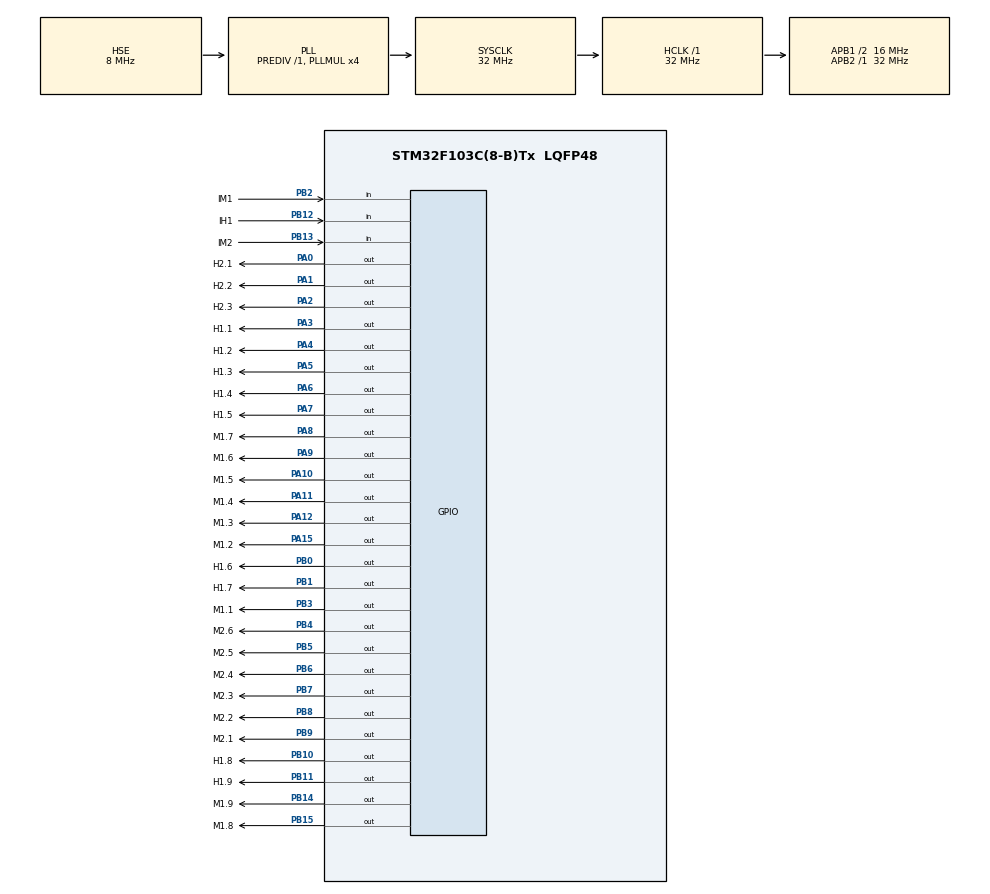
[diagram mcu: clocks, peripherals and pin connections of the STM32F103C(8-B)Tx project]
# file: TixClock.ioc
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Mcu.Family=STM32F1
Mcu.Name=STM32F103C(8-B)Tx
Mcu.Package=LQFP48
NVIC.PriorityGroup=NVIC_PRIORITYGROUP_4
PA0-WKUP.GPIO_Label=H2.1
PA0-WKUP.GPIO_PuPd=GPIO_PULLUP
PA0-WKUP.Signal=GPIO_Output
PA1.GPIO_Label=H2.2
PA1.GPIO_PuPd=GPIO_PULLUP
PA1.Signal=GPIO_Output
PA10.GPIO_Label=M1.5
PA10.GPIO_PuPd=GPIO_PULLUP
PA10.Signal=GPIO_Output
PA11.GPIO_Label=M1.4
PA11.GPIO_PuPd=GPIO_PULLUP
PA11.Signal=GPIO_Output
PA12.GPIO_Label=M1.3
PA12.GPIO_PuPd=GPIO_PULLUP
PA12.Signal=GPIO_Output
PA13.Mode=Serial_Wire
PA13.Signal=SYS_JTMS-SWDIO
PA14.Mode=Serial_Wire
PA14.Signal=SYS_JTCK-SWCLK
PA15.GPIO_Label=M1.2
PA15.GPIO_PuPd=GPIO_PULLUP
PA15.Signal=GPIO_Output
PA2.GPIO_Label=H2.3
PA2.GPIO_PuPd=GPIO_PULLUP
PA2.Signal=GPIO_Output
PA3.GPIO_Label=H1.1
PA3.GPIO_PuPd=GPIO_PULLUP
PA3.Signal=GPIO_Output
PA4.GPIO_Label=H1.2
PA4.GPIO_PuPd=GPIO_PULLUP
PA4.Signal=GPIO_Output
PA5.GPIO_Label=H1.3
PA5.GPIO_PuPd=GPIO_PULLUP
PA5.Signal=GPIO_Output
PA6.GPIO_Label=H1.4
PA6.GPIO_PuPd=GPIO_PULLUP
PA6.Signal=GPIO_Output
PA7.GPIO_Label=H1.5
PA7.GPIO_PuPd=GPIO_PULLUP
PA7.Signal=GPIO_Output
PA8.GPIO_Label=M1.7
PA8.GPIO_PuPd=GPIO_PULLUP
PA8.Signal=GPIO_Output
PA9.GPIO_Label=M1.6
PA9.GPIO_PuPd=GPIO_PULLUP
PA9.Signal=GPIO_Output
PB0.GPIO_Label=H1.6
PB0.GPIO_PuPd=GPIO_PULLUP
PB0.Signal=GPIO_Output
PB1.GPIO_Label=H1.7
PB1.GPIO_PuPd=GPIO_PULLUP
PB1.Signal=GPIO_Output
PB10.GPIO_Label=H1.8
PB10.GPIO_PuPd=GPIO_PULLUP
PB10.Signal=GPIO_Output
PB11.GPIO_Label=H1.9
PB11.GPIO_PuPd=GPIO_PULLUP
PB11.Signal=GPIO_Output
PB12.GPIO_Label=IH1
PB12.GPIO_Mode=GPIO_MODE_INPUT
PB12.GPIO_PuPd=GPIO_PULLUP
PB12.Signal=GPIO_Input
PB13.GPIO_Label=IM2
PB13.GPIO_Mode=GPIO_MODE_INPUT
PB13.GPIO_PuPd=GPIO_PULLUP
PB13.Signal=GPIO_Input
PB14.GPIO_Label=M1.9
PB14.GPIO_PuPd=GPIO_PULLUP
PB14.Signal=GPIO_Output
PB15.GPIO_Label=M1.8
PB15.GPIO_PuPd=GPIO_PULLUP
PB15.Signal=GPIO_Output
PB2.GPIO_Label=IM1
PB2.GPIO_PuPd=GPIO_PULLUP
PB2.Signal=GPIO_Input
PB3.GPIO_Label=M1.1
PB3.GPIO_PuPd=GPIO_PULLUP
PB3.Signal=GPIO_Output
PB4.GPIO_Label=M2.6
PB4.GPIO_PuPd=GPIO_PULLUP
PB4.Signal=GPIO_Output
PB5.GPIO_Label=M2.5
PB5.GPIO_PuPd=GPIO_PULLUP
PB5.Signal=GPIO_Output
PB6.GPIO_Label=M2.4
PB6.GPIO_PuPd=GPIO_PULLUP
PB6.Signal=GPIO_Output
PB7.GPIO_Label=M2.3
PB7.GPIO_PuPd=GPIO_PULLUP
PB7.Signal=GPIO_Output
PB8.GPIO_Label=M2.2
PB8.GPIO_PuPd=GPIO_PULLUP
PB8.Signal=GPIO_Output
PB9.GPIO_Label=M2.1
PB9.GPIO_PuPd=GPIO_PULLUP
PB9.Signal=GPIO_Output
PC14-OSC32_IN.Mode=LSE-External-Oscillator
PC14-OSC32_IN.Signal=RCC_OSC32_IN
PC15-OSC32_OUT.Mode=LSE-External-Oscillator
PC15-OSC32_OUT.Signal=RCC_OSC32_OUT
PD0-OSC_IN.Mode=HSE-External-Oscillator
PD0-OSC_IN.Signal=RCC_OSC_IN
PD1-OSC_OUT.Mode=HSE-External-Oscillator
PD1-OSC_OUT.Signal=RCC_OSC_OUT
ProjectManager.HeapSize=0x200
ProjectManager.StackSize=0x400
ProjectManager.TargetToolchain=EWARM V7
RCC.AHBFreq_Value=32000000
RCC.APB1CLKDivider=RCC_HCLK_DIV2
RCC.APB1Freq_Value=16000000
RCC.APB1TimFreq_Value=32000000
RCC.APB2Freq_Value=32000000
RCC.APB2TimFreq_Value=32000000
RCC.HCLKFreq_Value=32000000
RCC.PLLMUL=RCC_PLL_MUL4
RCC.PLLSourceVirtual=RCC_PLLSOURCE_HSE
RCC.RTCClockSelection=RCC_RTCCLKSOURCE_LSE
RCC.SYSCLKFreq_VALUE=32000000
RCC.SYSCLKSource=RCC_SYSCLKSOURCE_PLLCLK
RCC.USBFreq_Value=32000000
RTC.AutoPrediv=RTC_AUTO_1_SECOND
RTC.Format=RTC_FORMAT_BIN
RTC.OutPut=RTC_OUTPUTSOURCE_SECOND
VP_RTC_VS_RTC_Activate.Mode=RTC_Enabled
board=custom

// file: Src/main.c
/**
  ******************************************************************************
  * @file           : main.c
  * @brief          : Main program body
  ******************************************************************************
  ** This notice applies to any and all portions of this file
  * that are not between comment pairs USER CODE BEGIN and
  * USER CODE END. Other portions of this file, whether
  * inserted by the user or by software development tools
  * are owned by their respective copyright owners.
  *
  * COPYRIGHT(c) 2020 STMicroelectronics
  *
  * Redistribution and use in source and binary forms, with or without modification,
  * are permitted provided that the following conditions are met:
  *   1. Redistributions of source code must retain the above copyright notice,
  *      this list of conditions and the following disclaimer.
  *   2. Redistributions in binary form must reproduce the above copyright notice,
  *      this list of conditions and the following disclaimer in the documentation
  *      and/or other materials provided with the distribution.
  *   3. Neither the name of STMicroelectronics nor the names of its contributors
  *      may be used to endorse or promote products derived from this software
  *      without specific prior written permission.
  *
  * THIS SOFTWARE IS PROVIDED BY THE COPYRIGHT HOLDERS AND CONTRIBUTORS "AS IS"
  * AND ANY EXPRESS OR IMPLIED WARRANTIES, INCLUDING, BUT NOT LIMITED TO, THE
  * IMPLIED WARRANTIES OF MERCHANTABILITY AND FITNESS FOR A PARTICULAR PURPOSE ARE
  * DISCLAIMED. IN NO EVENT SHALL THE COPYRIGHT HOLDER OR CONTRIBUTORS BE LIABLE
  * FOR ANY DIRECT, INDIRECT, INCIDENTAL, SPECIAL, EXEMPLARY, OR CONSEQUENTIAL
  * DAMAGES (INCLUDING, BUT NOT LIMITED TO, PROCUREMENT OF SUBSTITUTE GOODS OR
  * SERVICES; LOSS OF USE, DATA, OR PROFITS; OR BUSINESS INTERRUPTION) HOWEVER
  * CAUSED AND ON ANY THEORY OF LIABILITY, WHETHER IN CONTRACT, STRICT LIABILITY,
  * OR TORT (INCLUDING NEGLIGENCE OR OTHERWISE) ARISING IN ANY WAY OUT OF THE USE
  * OF THIS SOFTWARE, EVEN IF ADVISED OF THE POSSIBILITY OF SUCH DAMAGE.
  *
  ******************************************************************************
  */
#include "main.h"
#include "stm32f1xx_hal.h"

/* USER CODE BEGIN Includes */
#include "cstdlib"
#include <stdbool.h>
/*
M1 x9: M1.1 M1.2 M1.3 ...
M2 x6: M2.1 M2.2 ...
H1 x9: H1.1 H2.2 ...
H2 x3: H2.1 H2.2 H2.3
*/
/* USER CODE END Includes */

RTC_HandleTypeDef hrtc;

/* USER CODE BEGIN PV */
/* Private variables ---------------------------------------------------------*/
RTC_TimeTypeDef currTime = {0};
RTC_DateTypeDef currDate = {0};

uint8_t M1 = 0, M2 = 0, H1 = 0, H2 = 0;
int lastSecond = 0;
bool temp[9], displayTime = 1, setPM = 1;
uint32_t errorSecond = 0;
uint8_t  IWDG_Reset = 1;

RTC_TimeTypeDef setTime = {17,31,30};//{0,0,0}; // Hour, Minute, Second
RTC_DateTypeDef setDate = {6,01,25,20}; // WeekDay, Month, Day, Year
/* USER CODE END PV */

void SystemClock_Config(void);
static void MX_GPIO_Init(void);
static void MX_RTC_Init(void);

/* USER CODE BEGIN PFP */
/* Private function prototypes -----------------------------------------------*/

/* USER CODE END PFP */

/* USER CODE BEGIN 0 */
void    DisplayTime(void);
void    DisplaySetTime(void);
int     GeneratePosition(int value, int N_position);
void    ShowPoints(char matrix_location, int position);
int     CountingOne(int data, int N_Position);
void    interruptDisplayTime(void);
void    DisplayAll(void);
void    getTime(void);

/* USER CODE END 0 */

int main(void)
{

  /* MCU Configuration----------------------------------------------------------*/

  /* Reset of all peripherals, Initializes the Flash interface and the Systick. */
  HAL_Init();

  /* Configure the system clock */
  SystemClock_Config();

  /* Initialize all configured peripherals */
  MX_GPIO_Init();
  MX_RTC_Init();
  /* USER CODE BEGIN 2 */

  HAL_RTC_SetTime(&hrtc, &setTime, RTC_FORMAT_BIN);
  //HAL_RTC_SetDate(&hrtc, &setDate, RTC_FORMAT_BIN);
    DisplayAll();
    HAL_Delay(1000);

  /* USER CODE END 2 */

  /* Infinite loop */
  while (1)
  {

  /* USER CODE BEGIN 3 */

    // **************************
    if ( ReadPin(IH1_GPIO_Port,IH1_Pin) == 0){
      while( ReadPin(IH1_GPIO_Port,IH1_Pin) == 0);
      getTime();
      if (setTime.Hours < 23)
        setTime.Hours++;
      else
        setTime.Hours = 0;

      setTime.Seconds           = 0;

      HAL_RTC_SetTime(&hrtc, &setTime, RTC_FORMAT_BIN);
      HAL_RTC_SetDate(&hrtc, &setDate, RTC_FORMAT_BIN);
      DisplaySetTime();

    }

    // **************************
    if ( ReadPin(IM1_GPIO_Port,IM1_Pin) == 0){
      while( ReadPin(IM1_GPIO_Port,IM1_Pin) == 0);
      getTime();
      if (setTime.Minutes%10 != 9)
        setTime.Minutes++;
      else
        setTime.Minutes = setTime.Minutes - 9;

      setTime.Seconds           = 0;

      HAL_RTC_SetTime(&hrtc, &setTime, RTC_FORMAT_BIN);
      HAL_RTC_SetDate(&hrtc, &setDate, RTC_FORMAT_BIN);
      DisplaySetTime();
    }

    // **************************
    if ( ReadPin(IM2_GPIO_Port,IM2_Pin) == 0){
      while( ReadPin(IM2_GPIO_Port,IM2_Pin) == 0);
      getTime();
      if (setTime.Minutes < 49)
        setTime.Minutes = setTime.Minutes + 10;
      else
        setTime.Minutes = setTime.Minutes - 50;

      setTime.Seconds           = 0;

      HAL_RTC_SetTime(&hrtc, &setTime, RTC_FORMAT_BIN);
      HAL_RTC_SetDate(&hrtc, &setDate, RTC_FORMAT_BIN);
      DisplaySetTime();
    }

  }
  /* USER CODE END 3 */

}

void SystemClock_Config(void)
{

  RCC_OscInitTypeDef RCC_OscInitStruct;
  RCC_ClkInitTypeDef RCC_ClkInitStruct;
  RCC_PeriphCLKInitTypeDef PeriphClkInit;

    /**Initializes the CPU, AHB and APB busses clocks
    */
  RCC_OscInitStruct.OscillatorType = RCC_OSCILLATORTYPE_HSE|RCC_OSCILLATORTYPE_LSE;
  RCC_OscInitStruct.HSEState = RCC_HSE_ON;
  RCC_OscInitStruct.HSEPredivValue = RCC_HSE_PREDIV_DIV1;
  RCC_OscInitStruct.LSEState = RCC_LSE_ON;
  RCC_OscInitStruct.HSIState = RCC_HSI_ON;
  RCC_OscInitStruct.PLL.PLLState = RCC_PLL_ON;
  RCC_OscInitStruct.PLL.PLLSource = RCC_PLLSOURCE_HSE;
  RCC_OscInitStruct.PLL.PLLMUL = RCC_PLL_MUL4;
  if (HAL_RCC_OscConfig(&RCC_OscInitStruct) != HAL_OK)
  {
    _Error_Handler(__FILE__, __LINE__);
  }

    /**Initializes the CPU, AHB and APB busses clocks
    */
  RCC_ClkInitStruct.ClockType = RCC_CLOCKTYPE_HCLK|RCC_CLOCKTYPE_SYSCLK
                              |RCC_CLOCKTYPE_PCLK1|RCC_CLOCKTYPE_PCLK2;
  RCC_ClkInitStruct.SYSCLKSource = RCC_SYSCLKSOURCE_PLLCLK;
  RCC_ClkInitStruct.AHBCLKDivider = RCC_SYSCLK_DIV1;
  RCC_ClkInitStruct.APB1CLKDivider = RCC_HCLK_DIV2;
  RCC_ClkInitStruct.APB2CLKDivider = RCC_HCLK_DIV1;

  if (HAL_RCC_ClockConfig(&RCC_ClkInitStruct, FLASH_LATENCY_1) != HAL_OK)
  {
    _Error_Handler(__FILE__, __LINE__);
  }

  PeriphClkInit.PeriphClockSelection = RCC_PERIPHCLK_RTC;
  PeriphClkInit.RTCClockSelection = RCC_RTCCLKSOURCE_LSE;
  if (HAL_RCCEx_PeriphCLKConfig(&PeriphClkInit) != HAL_OK)
  {
    _Error_Handler(__FILE__, __LINE__);
  }

    /**Configure the Systick interrupt time
    */
  HAL_SYSTICK_Config(HAL_RCC_GetHCLKFreq()/1000);

    /**Configure the Systick
    */
  HAL_SYSTICK_CLKSourceConfig(SYSTICK_CLKSOURCE_HCLK);

  /* SysTick_IRQn interrupt configuration */
  HAL_NVIC_SetPriority(SysTick_IRQn, 0, 0);
}

/* RTC init function */
static void MX_RTC_Init(void)
{

    /**Initialize RTC Only
    */
  hrtc.Instance = RTC;
  hrtc.Init.AsynchPrediv = RTC_AUTO_1_SECOND;
  hrtc.Init.OutPut = RTC_OUTPUTSOURCE_SECOND;
  if (HAL_RTC_Init(&hrtc) != HAL_OK)
  {
    _Error_Handler(__FILE__, __LINE__);
  }

}

/** Configure pins as
        * Analog
        * Input
        * Output
        * EVENT_OUT
        * EXTI
*/
static void MX_GPIO_Init(void)
{

  GPIO_InitTypeDef GPIO_InitStruct;

  /* GPIO Ports Clock Enable */
  __HAL_RCC_GPIOC_CLK_ENABLE();
  __HAL_RCC_GPIOD_CLK_ENABLE();
  __HAL_RCC_GPIOA_CLK_ENABLE();
  __HAL_RCC_GPIOB_CLK_ENABLE();

  /*Configure GPIO pin Output Level */
  HAL_GPIO_WritePin(GPIOA, H2_1_Pin|H2_2_Pin|H2_3_Pin|H1_1_Pin
                          |H1_2_Pin|H1_3_Pin|H1_4_Pin|H1_5_Pin
                          |M1_7_Pin|M1_6_Pin|M1_5_Pin|M1_4_Pin
                          |M1_3_Pin|M1_2_Pin, GPIO_PIN_RESET);

  /*Configure GPIO pin Output Level */
  HAL_GPIO_WritePin(GPIOB, H1_6_Pin|H1_7_Pin|H1_8_Pin|H1_9_Pin
                          |M1_9_Pin|M1_8_Pin|M1_1_Pin|M2_6_Pin
                          |M2_5_Pin|M2_4_Pin|M2_3_Pin|M2_2_Pin
                          |M2_1_Pin, GPIO_PIN_RESET);

  /*Configure GPIO pins : H2_1_Pin H2_2_Pin H2_3_Pin H1_1_Pin
                           H1_2_Pin H1_3_Pin H1_4_Pin H1_5_Pin
                           M1_7_Pin M1_6_Pin M1_5_Pin M1_4_Pin
                           M1_3_Pin M1_2_Pin */
  GPIO_InitStruct.Pin = H2_1_Pin|H2_2_Pin|H2_3_Pin|H1_1_Pin
                          |H1_2_Pin|H1_3_Pin|H1_4_Pin|H1_5_Pin
                          |M1_7_Pin|M1_6_Pin|M1_5_Pin|M1_4_Pin
                          |M1_3_Pin|M1_2_Pin;
  GPIO_InitStruct.Mode = GPIO_MODE_OUTPUT_PP;
  GPIO_InitStruct.Pull = GPIO_PULLUP;
  GPIO_InitStruct.Speed = GPIO_SPEED_FREQ_LOW;
  HAL_GPIO_Init(GPIOA, &GPIO_InitStruct);

  /*Configure GPIO pins : H1_6_Pin H1_7_Pin H1_8_Pin H1_9_Pin
                           M1_9_Pin M1_8_Pin M1_1_Pin M2_6_Pin
                           M2_5_Pin M2_4_Pin M2_3_Pin M2_2_Pin
                           M2_1_Pin */
  GPIO_InitStruct.Pin = H1_6_Pin|H1_7_Pin|H1_8_Pin|H1_9_Pin
                          |M1_9_Pin|M1_8_Pin|M1_1_Pin|M2_6_Pin
                          |M2_5_Pin|M2_4_Pin|M2_3_Pin|M2_2_Pin
                          |M2_1_Pin;
  GPIO_InitStruct.Mode = GPIO_MODE_OUTPUT_PP;
  GPIO_InitStruct.Pull = GPIO_PULLUP;
  GPIO_InitStruct.Speed = GPIO_SPEED_FREQ_LOW;
  HAL_GPIO_Init(GPIOB, &GPIO_InitStruct);

  /*Configure GPIO pins : IM1_Pin IH1_Pin IM2_Pin */
  GPIO_InitStruct.Pin = IM1_Pin|IH1_Pin|IM2_Pin;
  GPIO_InitStruct.Mode = GPIO_MODE_INPUT;
  GPIO_InitStruct.Pull = GPIO_PULLUP;
  HAL_GPIO_Init(GPIOB, &GPIO_InitStruct);

}

/* USER CODE BEGIN 4 */
/*
M1 x9: M1.1 M1.2 M1.3 ...
M2 x6: M2.1 M2.2 ...
H1 x9: H1.1 H2.2 ...
H2 x3: H2.1 H2.2 H2.3
*/

void getTime(void){

    HAL_RTC_GetTime(&hrtc, &currTime, RTC_FORMAT_BIN);
    HAL_RTC_GetDate(&hrtc, &currDate, RTC_FORMAT_BIN);
    //
    setTime.Hours       = currTime.Hours;
    setTime.Minutes     = currTime.Minutes;
    setTime.Seconds     = currTime.Seconds;

}
void interruptDisplayTime(void){
  lastSecond = currTime.Seconds;
  getTime();

  if (currTime.Seconds == lastSecond + 1) {
    //HAL_GPIO_TogglePin(Tix_GPIO_Port,Tix_Pin);
    //SetPin(Tix_GPIO_Port, Tix_Pin, GPIO_PIN_RESET);
    //HAL_Delay(100);
    //SetPin(Tix_GPIO_Port, Tix_Pin, GPIO_PIN_SET);
  }
  else if ( currTime.Seconds != 0 ) errorSecond++;
  /*
  if (currTime.Minutes == 0 && currTime.Seconds == 0) {
    SetPin(Tix_GPIO_Port, Tix_Pin, GPIO_PIN_SET);
    HAL_Delay(300);
    ResetPin(Tix_GPIO_Port, Tix_Pin, GPIO_PIN_RESET);
  }
  */
  if(displayTime == 1) DisplayTime();
}

void DisplayTime(void){
  int position = 0;

  if (setPM == 1){
    if ( currTime.Hours > 12 ) currTime.Hours = currTime.Hours - 12;
    if ( currTime.Hours == 0 ) currTime.Hours = 12;
  }

  M1 = currTime.Minutes%10;
  position = GeneratePosition(M1,9);
  ShowPoints(1,position);

  M2 = currTime.Minutes/10;
  position = GeneratePosition(M2,6);
  ShowPoints(2,position);

  H1 = currTime.Hours%10;
  position = GeneratePosition(H1,9);
  ShowPoints(3,position);

  H2 = currTime.Hours/10;
  position = GeneratePosition(H2,3);
  ShowPoints(4,position);

}

void DisplaySetTime(void){
  int position = 0;

  if (setPM == 1){
    if ( setTime.Hours > 12 ) setTime.Hours = setTime.Hours - 12;
    if ( setTime.Hours == 0 ) setTime.Hours = 12;
  }

  M1 = setTime.Minutes%10;
  position = GeneratePosition(M1,9);
  ShowPoints(1,position);

  M2 = setTime.Minutes/10;
  position = GeneratePosition(M2,6);
  ShowPoints(2,position);

  H1 = setTime.Hours%10;
  position = GeneratePosition(H1,9);
  ShowPoints(3,position);

  H2 = setTime.Hours/10;
  position = GeneratePosition(H2,3);
  ShowPoints(4,position);

}

void DisplayAll(void){
  ShowPoints(1,0x1FF);
  ShowPoints(2,0x3F);
  ShowPoints(3,0x1FF);
  ShowPoints(4,0x07);
}

int GeneratePosition(int value, int N_Position){
  int data = 0;
  int position = 0;
  int NoOfOne = 0;
  // Generate position data from value
    while(NoOfOne < value){
        if (temp[position] == 0){
            if ((( rand()%100)%10) > 5){
                temp[position] = 1;
                NoOfOne++;
            }
        }
        if (position < (N_Position - 1) )
          position++;
        else
          position = 0;
    }

    // Copy from array to binary
    for (int i = 0; i < N_Position; i++){
      if (temp[i] == 1) data++;
      data = data<<1;
    }
    data = data>>1;

    // Format temp
    for (int i = 0; i < 9; i++ ){
      temp[i] = 0;
    }

  return data;
}

int CountingOne(int data, int N_Position){
  int NoOfOne = 0;
  int temp = data;
  for (int i = 0; i < N_Position; i++){
    if (temp&0x01) NoOfOne++;
    temp = temp >> 1;
  }
  return NoOfOne;
}

void ShowPoints(char matrix_location, int position){
  switch(matrix_location){
  case 1:
    if (position&0x01)  SetPin(M1_1_GPIO_Port,M1_1_Pin,SetLED);
    else                SetPin(M1_1_GPIO_Port,M1_1_Pin,ResetLED);
    if (position&0x02)  SetPin(M1_2_GPIO_Port,M1_2_Pin,SetLED);
    else                SetPin(M1_2_GPIO_Port,M1_2_Pin,ResetLED);
    if (position&0x04)  SetPin(M1_3_GPIO_Port,M1_3_Pin,SetLED);
    else                SetPin(M1_3_GPIO_Port,M1_3_Pin,ResetLED);
    if (position&0x08)  SetPin(M1_4_GPIO_Port,M1_4_Pin,SetLED);
    else                SetPin(M1_4_GPIO_Port,M1_4_Pin,ResetLED);
    if (position&0x10)  SetPin(M1_5_GPIO_Port,M1_5_Pin,SetLED);
    else                SetPin(M1_5_GPIO_Port,M1_5_Pin,ResetLED);
    if (position&0x20)  SetPin(M1_6_GPIO_Port,M1_6_Pin,SetLED);
    else                SetPin(M1_6_GPIO_Port,M1_6_Pin,ResetLED);
    if (position&0x40)  SetPin(M1_7_GPIO_Port,M1_7_Pin,SetLED);
    else                SetPin(M1_7_GPIO_Port,M1_7_Pin,ResetLED);
    if (position&0x80)  SetPin(M1_8_GPIO_Port,M1_8_Pin,SetLED);
    else                SetPin(M1_8_GPIO_Port,M1_8_Pin,ResetLED);
    if (position&0x100) SetPin(M1_9_GPIO_Port,M1_9_Pin,SetLED);
    else                SetPin(M1_9_GPIO_Port,M1_9_Pin,ResetLED);
    break;
  case 2:
    if (position&0x01)  SetPin(M2_1_GPIO_Port,M2_1_Pin,SetLED);
    else                SetPin(M2_1_GPIO_Port,M2_1_Pin,ResetLED);
    if (position&0x02)  SetPin(M2_2_GPIO_Port,M2_2_Pin,SetLED);
    else                SetPin(M2_2_GPIO_Port,M2_2_Pin,ResetLED);
    if (position&0x04)  SetPin(M2_3_GPIO_Port,M2_3_Pin,SetLED);
    else                SetPin(M2_3_GPIO_Port,M2_3_Pin,ResetLED);
    if (position&0x08)  SetPin(M2_4_GPIO_Port,M2_4_Pin,SetLED);
    else                SetPin(M2_4_GPIO_Port,M2_4_Pin,ResetLED);
    if (position&0x10)  SetPin(M2_5_GPIO_Port,M2_5_Pin,SetLED);
    else                SetPin(M2_5_GPIO_Port,M2_5_Pin,ResetLED);
    if (position&0x20)  SetPin(M2_6_GPIO_Port,M2_6_Pin,SetLED);
    else                SetPin(M2_6_GPIO_Port,M2_6_Pin,ResetLED);
    break;
  case 3:
    if (position&0x01)  SetPin(H1_1_GPIO_Port,H1_1_Pin,SetLED);
    else                SetPin(H1_1_GPIO_Port,H1_1_Pin,ResetLED);
    if (position&0x02)  SetPin(H1_2_GPIO_Port,H1_2_Pin,SetLED);
    else                SetPin(H1_2_GPIO_Port,H1_2_Pin,ResetLED);
    if (position&0x04)  SetPin(H1_3_GPIO_Port,H1_3_Pin,SetLED);
    else                SetPin(H1_3_GPIO_Port,H1_3_Pin,ResetLED);
    if (position&0x08)  SetPin(H1_4_GPIO_Port,H1_4_Pin,SetLED);
    else                SetPin(H1_4_GPIO_Port,H1_4_Pin,ResetLED);
    if (position&0x10)  SetPin(H1_5_GPIO_Port,H1_5_Pin,SetLED);
    else                SetPin(H1_5_GPIO_Port,H1_5_Pin,ResetLED);
    if (position&0x20)  SetPin(H1_6_GPIO_Port,H1_6_Pin,SetLED);
    else                SetPin(H1_6_GPIO_Port,H1_6_Pin,ResetLED);
    if (position&0x40)  SetPin(H1_7_GPIO_Port,H1_7_Pin,SetLED);
    else                SetPin(H1_7_GPIO_Port,H1_7_Pin,ResetLED);
    if (position&0x80)  SetPin(H1_8_GPIO_Port,H1_8_Pin,SetLED);
    else                SetPin(H1_8_GPIO_Port,H1_8_Pin,ResetLED);
    if (position&0x100) SetPin(H1_9_GPIO_Port,H1_9_Pin,SetLED);
    else                SetPin(H1_9_GPIO_Port,H1_9_Pin,ResetLED);
    break;
  case 4:
    if (position&0x01)  SetPin(H2_1_GPIO_Port,H2_1_Pin,SetLED);
    else                SetPin(H2_1_GPIO_Port,H2_1_Pin,ResetLED);
    if (position&0x02)  SetPin(H2_2_GPIO_Port,H2_2_Pin,SetLED);
    else                SetPin(H2_2_GPIO_Port,H2_2_Pin,ResetLED);
    if (position&0x04)  SetPin(H2_3_GPIO_Port,H2_3_Pin,SetLED);
    else                SetPin(H2_3_GPIO_Port,H2_3_Pin,ResetLED);
    break;
  default: break;
  }
}
/* USER CODE END 4 */

void _Error_Handler(char *file, int line)
{
  while(1)
  {
  }
}

/************************ (C) COPYRIGHT STMicroelectronics *****END OF FILE****/
